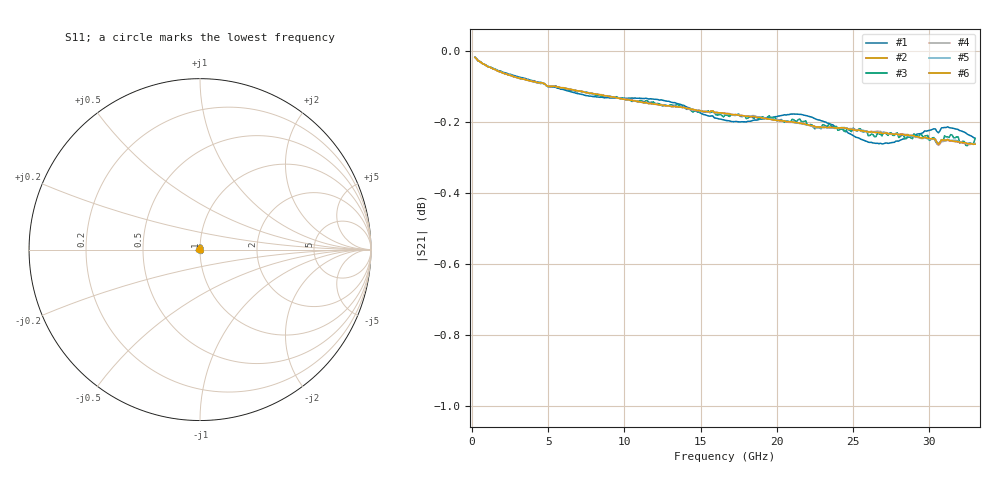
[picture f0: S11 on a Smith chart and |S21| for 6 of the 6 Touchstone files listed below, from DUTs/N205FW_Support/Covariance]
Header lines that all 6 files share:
# GHZ S RI R 50
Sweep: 200 MHz to 33 GHz
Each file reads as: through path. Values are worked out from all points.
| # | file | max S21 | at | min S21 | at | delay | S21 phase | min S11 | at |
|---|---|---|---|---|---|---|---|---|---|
| 1 | N205FW_4.s2p | -0.02 dB | 200 MHz | -0.3 dB | 26.9 GHz | 248 ps | -42 deg at 16.6 GHz | -73.5 dB | 18.5 GHz |
| 2 | N205FW_5.s2p | -0.02 dB | 200 MHz | -0.3 dB | 32.9 GHz | 248 ps | -42 deg at 16.6 GHz | -73.9 dB | 18.5 GHz |
| 3 | N205FW_8.s2p | -0.02 dB | 200 MHz | -0.3 dB | 32.5 GHz | 248 ps | -42 deg at 16.6 GHz | -72.2 dB | 3.2 GHz |
| 4 | N205FW_11.s2p | -0.02 dB | 200 MHz | -0.3 dB | 30.6 GHz | 248 ps | -42 deg at 16.6 GHz | -71.5 dB | 3.2 GHz |
| 5 | N205FW_12.s2p | -0.02 dB | 200 MHz | -0.3 dB | 32.9 GHz | 248 ps | -42 deg at 16.6 GHz | -71.3 dB | 200 MHz |
| 6 | N205FW_15.s2p | -0.02 dB | 200 MHz | -0.3 dB | 32.9 GHz | 248 ps | -42 deg at 16.6 GHz | -73.7 dB | 18.5 GHz |
